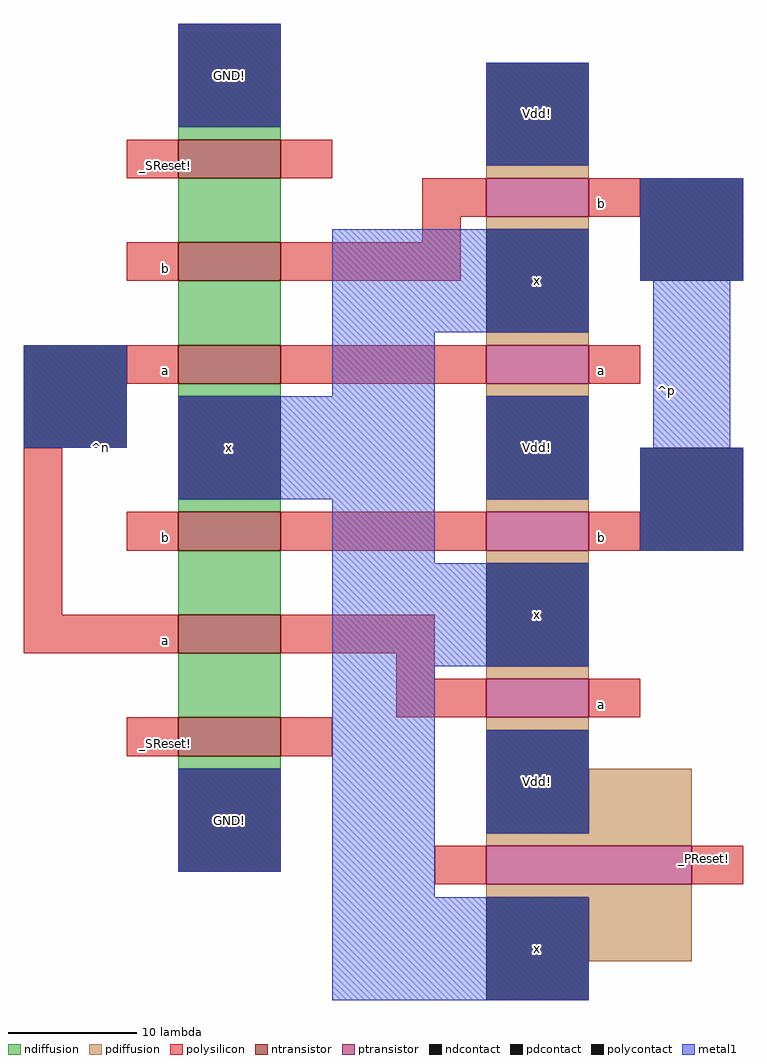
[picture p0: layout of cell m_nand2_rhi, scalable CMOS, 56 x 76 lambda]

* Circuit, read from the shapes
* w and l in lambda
.subckt m_nand2_rhi GND! Vdd! _PReset! _SReset! a b x
M1 n1 _SReset! GND! VSUBS nfet w=8 l=3
M2 n2 a n1 VSUBS nfet w=8 l=3
M3 x b n2 VSUBS nfet w=8 l=3
M4 n3 a x VSUBS nfet w=8 l=3
M5 n4 b n3 VSUBS nfet w=8 l=3
M6 GND! _SReset! n4 VSUBS nfet w=8 l=3
M7 Vdd! _PReset! x NWELL pfet w=16 l=3
M8 x a Vdd! NWELL pfet w=8 l=3 m=2
M9 Vdd! b x NWELL pfet w=8 l=3 m=2
.ends

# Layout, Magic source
magic
tech scmos
<< ndiffusion >>
rect 37 73 45 74
rect 37 65 45 70
rect 37 57 45 62
rect 37 53 45 54
rect 37 44 45 45
rect 37 36 45 41
rect 37 28 45 33
rect 37 24 45 25
<< pdiffusion >>
rect 61 70 69 71
rect 61 66 69 67
rect 61 57 69 58
rect 61 53 69 54
rect 61 44 69 45
rect 61 40 69 41
rect 61 31 69 32
rect 61 27 69 28
rect 69 19 77 24
rect 61 18 77 19
rect 61 14 77 15
rect 69 9 77 14
<< ntransistor >>
rect 37 70 45 73
rect 37 62 45 65
rect 37 54 45 57
rect 37 41 45 44
rect 37 33 45 36
rect 37 25 45 28
<< ptransistor >>
rect 61 67 69 70
rect 61 54 69 57
rect 61 41 69 44
rect 61 28 69 31
rect 61 15 77 18
<< polysilicon >>
rect 33 70 37 73
rect 45 70 49 73
rect 56 67 61 70
rect 69 67 73 70
rect 56 65 59 67
rect 33 62 37 65
rect 45 62 59 65
rect 33 54 37 57
rect 45 54 61 57
rect 69 54 73 57
rect 25 36 28 49
rect 33 41 37 44
rect 45 41 61 44
rect 69 41 73 44
rect 25 33 37 36
rect 45 33 57 36
rect 54 31 57 33
rect 54 28 61 31
rect 69 28 73 31
rect 33 25 37 28
rect 45 25 49 28
rect 57 15 61 18
rect 77 15 81 18
<< ndcontact >>
rect 37 74 45 82
rect 37 45 45 53
rect 37 16 45 24
<< pdcontact >>
rect 61 71 69 79
rect 61 58 69 66
rect 61 45 69 53
rect 61 32 69 40
rect 61 19 69 27
rect 61 6 69 14
<< polycontact >>
rect 73 62 81 70
rect 25 49 33 57
rect 73 41 81 49
<< metal1 >>
rect 37 74 45 82
rect 61 71 69 79
rect 49 58 69 66
rect 73 62 81 70
rect 25 49 33 57
rect 49 53 57 58
rect 37 45 57 53
rect 61 45 69 53
rect 74 49 80 62
rect 49 40 57 45
rect 73 41 81 49
rect 49 32 69 40
rect 37 16 45 24
rect 49 14 57 32
rect 61 19 69 27
rect 49 6 69 14
<< labels >>
rlabel metal1 65 62 65 62 1 x
rlabel metal1 65 75 65 75 5 Vdd!
rlabel metal1 65 49 65 49 1 Vdd!
rlabel polysilicon 70 68 70 68 1 b
rlabel metal1 65 36 65 36 5 x
rlabel metal1 65 23 65 23 1 Vdd!
rlabel metal1 65 10 65 10 1 x
rlabel polysilicon 36 71 36 71 1 _SReset!
rlabel polysilicon 36 26 36 26 1 _SReset!
rlabel metal1 41 20 41 20 1 GND!
rlabel metal1 41 78 41 78 5 GND!
rlabel metal1 41 49 41 49 5 x
rlabel polysilicon 36 34 36 34 3 a
rlabel polysilicon 36 55 36 55 3 a
rlabel polysilicon 70 42 70 42 1 b
rlabel space 24 15 38 83 7 ^n
rlabel polysilicon 70 55 70 55 1 a
rlabel polysilicon 70 29 70 29 1 a
rlabel polysilicon 36 42 36 42 3 b
rlabel polysilicon 36 63 36 63 3 b
rlabel polysilicon 78 17 78 17 7 _PReset!
rlabel space 68 25 82 82 3 ^p
<< end >>
